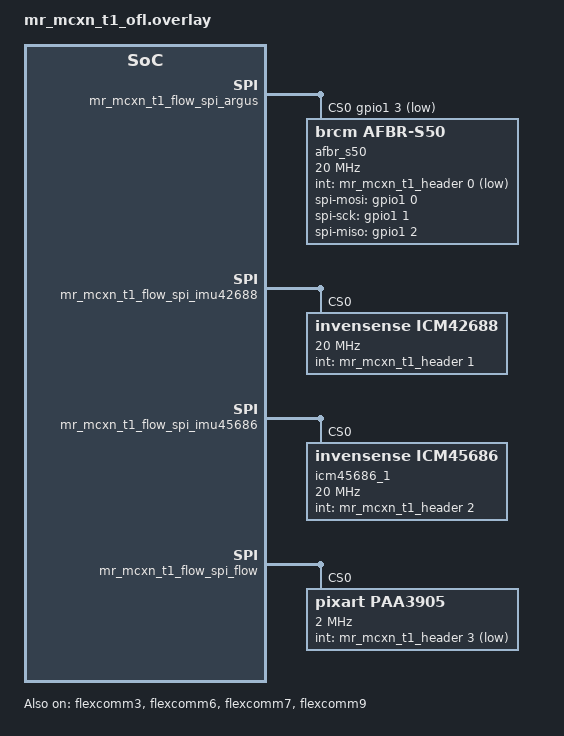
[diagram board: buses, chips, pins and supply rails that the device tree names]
/*
 * Copyright (c) 2026 CogniPilot Foundation
 *
 * SPDX-License-Identifier: Apache-2.0
 */

#include <freq.h>
#include <zephyr/dt-bindings/gpio/gpio.h>
#include <zephyr/dt-bindings/sensor/afbr_s50.h>
#include <zephyr/dt-bindings/sensor/icm42688.h>
#include <zephyr/dt-bindings/sensor/icm45686.h>

/ {
	aliases {
		argus-stream-0 = &afbr_s50;
		optical-flow-stream-0 = &paa3905;
	};
};

/*
 * The optical-flow board rides four SPI buses on the stacking header. The
 * base board leaves the FlexCOMM parents and their SPI children disabled;
 * enable each parent and child here. Board-side pin routing (including the
 * AFBR-S50 priv_start bit-bang state) is carried by the labeled bus nodes.
 *
 * Sensor interrupt lines come through the stacking-header GPIO nexus
 * (mr_mcxn_t1_header). The AFBR-S50 SPI-in-GPIO-mode pins (MOSI/SCK/MISO) and
 * its chip select are the FlexCOMM3 SPI signals reused in GPIO mode, so they
 * are named on the SoC GPIO controller alongside their bus rather than the
 * control-line nexus.
 */
&flexcomm3 {
	status = "okay";
};

&mr_mcxn_t1_flow_spi_argus {
	status = "okay";
	cs-gpios = <&gpio1 3 GPIO_ACTIVE_LOW>;

	afbr_s50: afbr_s50@0 {
		compatible = "brcm,afbr-s50";
		reg = <0>;
		spi-max-frequency = <DT_FREQ_M(20)>;
		spi-cs-setup-delay-ns = <50>;
		spi-cs-hold-delay-ns = <50>;
		spi-interframe-delay-ns = <50>;
		odr = <50>;
		dual-freq-mode = <AFBR_S50_DT_DFM_MODE_4X>;
		measurement-mode = <AFBR_S50_DT_MODE_SHORT_RANGE>;
		int-gpios = <&mr_mcxn_t1_header 0 (GPIO_ACTIVE_LOW | GPIO_PULL_UP)>;
		spi-mosi-gpios = <&gpio1 0 GPIO_ACTIVE_HIGH>;
		spi-sck-gpios = <&gpio1 1 GPIO_ACTIVE_HIGH>;
		spi-miso-gpios = <&gpio1 2 GPIO_ACTIVE_HIGH>;
	};
};

&flexcomm6 {
	status = "okay";
};

&mr_mcxn_t1_flow_spi_imu42688 {
	status = "okay";

	icm42688: icm42688@0 {
		compatible = "invensense,icm42688", "invensense,icm4268x";
		reg = <0>;
		spi-max-frequency = <DT_FREQ_M(20)>;
		spi-cs-setup-delay-ns = <50>;
		spi-cs-hold-delay-ns = <50>;
		spi-interframe-delay-ns = <50>;
		int-gpios = <&mr_mcxn_t1_header 1 GPIO_ACTIVE_HIGH>;
		accel-pwr-mode = <ICM42688_DT_ACCEL_LN>;
		accel-odr = <ICM42688_DT_ACCEL_ODR_1000>;
		accel-fs = <ICM42688_DT_ACCEL_FS_16>;
		gyro-pwr-mode = <ICM42688_DT_GYRO_LN>;
		gyro-odr = <ICM42688_DT_GYRO_ODR_1000>;
		gyro-fs = <ICM42688_DT_GYRO_FS_2000>;
		fifo-hires;
	};
};

&flexcomm7 {
	status = "okay";
};

&mr_mcxn_t1_flow_spi_imu45686 {
	status = "okay";

	icm45686_1: icm45686@0 {
		compatible = "invensense,icm45686";
		reg = <0>;
		spi-max-frequency = <DT_FREQ_M(20)>;
		spi-cs-setup-delay-ns = <50>;
		spi-cs-hold-delay-ns = <50>;
		spi-interframe-delay-ns = <50>;
		int-gpios = <&mr_mcxn_t1_header 2 GPIO_ACTIVE_HIGH>;
		accel-pwr-mode = <ICM45686_DT_ACCEL_LN>;
		accel-fs = <ICM45686_DT_ACCEL_FS_2>;
		accel-odr = <ICM45686_DT_ACCEL_ODR_400>;
		accel-lpf = <ICM45686_DT_ACCEL_LPF_BW_1_32>;
		gyro-pwr-mode = <ICM45686_DT_GYRO_LN>;
		gyro-fs = <ICM45686_DT_GYRO_FS_4000>;
		gyro-odr = <ICM45686_DT_GYRO_ODR_400>;
		gyro-lpf = <ICM45686_DT_GYRO_LPF_BW_1_32>;
		fifo-watermark = <1>;
	};
};

&flexcomm9 {
	status = "okay";
};

&mr_mcxn_t1_flow_spi_flow {
	status = "okay";

	paa3905: paa3905@0 {
		compatible = "pixart,paa3905";
		reg = <0>;
		spi-max-frequency = <DT_FREQ_M(2)>;
		spi-cs-setup-delay-ns = <50>;
		spi-cs-hold-delay-ns = <50>;
		spi-interframe-delay-ns = <50>;
		int-gpios = <&mr_mcxn_t1_header 3 GPIO_ACTIVE_LOW>;
	};
};
